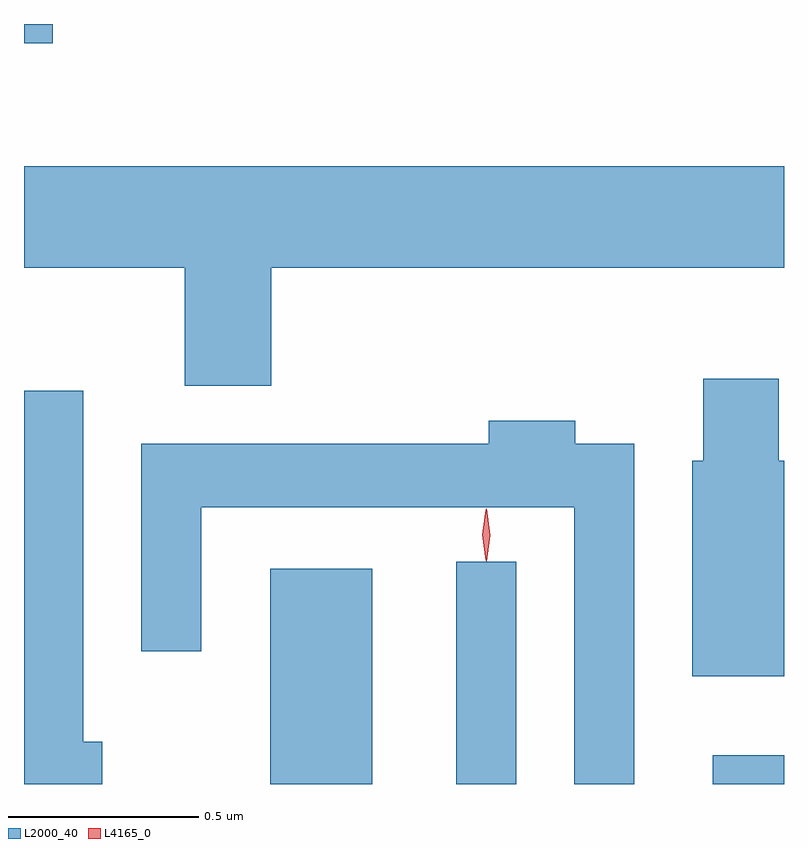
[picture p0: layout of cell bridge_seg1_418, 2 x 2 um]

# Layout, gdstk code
import gdstk
lib = gdstk.Library(unit=1e-6, precision=1e-09)
def R(c, l, rs):  # rectangles x0, y0, x1, y1
    for r in rs: c.add(gdstk.rectangle(r[:2], r[2:], *l))
def P(c, l, *ps):  # polygons
    for p in ps: c.add(gdstk.Polygon(p, *l))
L2000_40 = (2000, 40)
L4165_0 = (4165, 0)

bridge_seg1_418 = lib.new_cell('bridge_seg1_418')
R(bridge_seg1_418, L2000_40, [(559.736,969.258,560.004,969.824), (560.226,969.258,560.384,969.843), (560.901,969.258,561.088,969.334), (559.088,971.208,559.164,971.258)])
P(bridge_seg1_418, L2000_40, [(559.739,970.616),(561.088,970.616),(561.088,970.884),(559.088,970.884),(559.088,970.616),(559.511,970.616),(559.511,970.306),(559.739,970.306)],
  [(561.088,970.109),(561.074,970.109),(561.074,970.324),(560.876,970.324),(560.876,970.109),(560.846,970.109),(560.846,969.541),(561.088,969.541)],
  [(559.294,969.369),(559.244,969.369),(559.244,970.293),(559.088,970.293),(559.088,969.258),(559.294,969.258)],
  [(560.694,970.154),(560.539,970.154),(560.539,970.214),(560.311,970.214),(560.311,970.154),(559.396,970.154),(559.396,969.608),(559.554,969.608),(559.554,969.986),(560.536,969.986),(560.536,969.258),(560.694,969.258)])
P(bridge_seg1_418, L4165_0, [(560.304,969.844),(560.295,969.913),(560.304,969.982),(560.305,969.983),(560.306,969.982),(560.315,969.913),(560.306,969.844),(560.305,969.844)],
  [(560.303,969.847),(560.294,969.914),(560.303,969.98),(560.304,969.98),(560.304,969.98),(560.314,969.914),(560.304,969.847),(560.304,969.847)])

lib.write_gds('bridge_seg1_418.gds')
